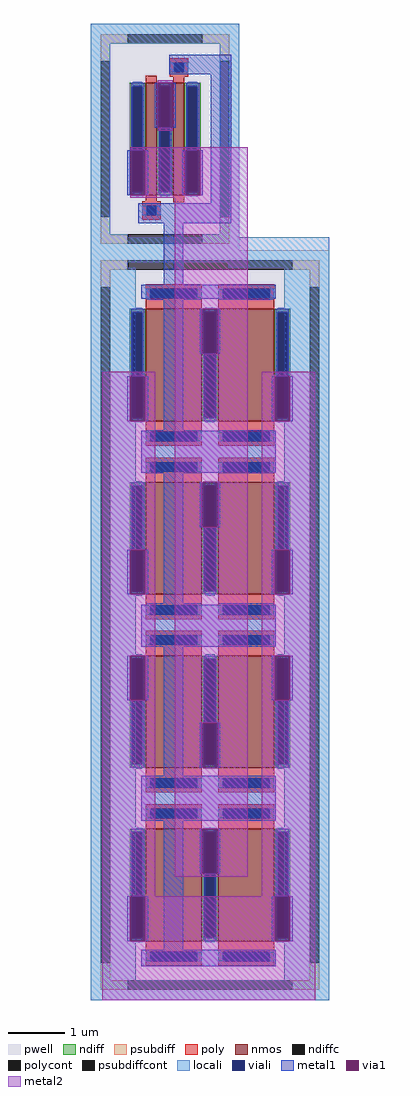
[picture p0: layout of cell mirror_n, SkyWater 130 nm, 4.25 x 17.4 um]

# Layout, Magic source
magic
tech sky130A
magscale 1 2
<< locali >>
rect -30 3380 500 3450
rect -30 2690 40 3380
rect 430 2690 500 3380
rect -30 2600 820 2690
rect -30 2580 40 2600
rect 460 2580 820 2600
rect -30 40 130 2580
rect 660 40 820 2580
rect -30 -30 820 40
<< metal1 >>
rect 250 3270 470 3340
rect 198 3080 208 3240
rect 262 3080 272 3240
rect 100 2840 110 3000
rect 164 2840 174 3000
rect 296 2840 306 3000
rect 360 2840 370 3000
rect 398 2810 470 3270
rect 140 2740 470 2810
rect 230 2520 300 2740
rect 150 2470 630 2520
rect 100 2034 110 2194
rect 164 2034 174 2194
rect 230 2000 300 2470
rect 358 2274 368 2434
rect 422 2274 432 2434
rect 616 2034 626 2194
rect 680 2034 690 2194
rect 150 1850 630 2000
rect 100 1416 110 1576
rect 164 1416 174 1576
rect 230 1380 300 1850
rect 358 1656 368 1816
rect 422 1656 432 1816
rect 616 1416 626 1576
rect 680 1416 690 1576
rect 150 1230 630 1380
rect 100 1038 110 1198
rect 164 1038 174 1198
rect 230 770 300 1230
rect 616 1038 626 1198
rect 680 1038 690 1198
rect 358 798 368 958
rect 422 798 432 958
rect 150 610 630 770
rect 100 180 110 340
rect 164 180 174 340
rect 230 150 300 610
rect 358 420 368 580
rect 422 420 432 580
rect 616 180 626 340
rect 680 180 690 340
rect 150 90 630 150
<< via1 >>
rect 208 3080 262 3240
rect 110 2840 164 3000
rect 306 2840 360 3000
rect 110 2034 164 2194
rect 368 2274 422 2434
rect 626 2034 680 2194
rect 110 1416 164 1576
rect 368 1656 422 1816
rect 626 1416 680 1576
rect 110 1038 164 1198
rect 626 1038 680 1198
rect 368 798 422 958
rect 110 180 164 340
rect 368 420 422 580
rect 626 180 680 340
<< metal2 >>
rect 208 3240 262 3250
rect 208 3070 262 3080
rect 110 3000 530 3010
rect 164 2840 306 3000
rect 360 2840 530 3000
rect 110 2830 530 2840
rect 270 2434 530 2830
rect 270 2274 368 2434
rect 422 2274 530 2434
rect 10 2194 200 2210
rect 10 2034 110 2194
rect 164 2034 200 2194
rect 10 1576 200 2034
rect 10 1416 110 1576
rect 164 1416 200 1576
rect 10 1198 200 1416
rect 10 1038 110 1198
rect 164 1038 200 1198
rect 10 340 200 1038
rect 270 1816 530 2274
rect 270 1656 368 1816
rect 422 1656 530 1816
rect 270 958 530 1656
rect 270 798 368 958
rect 422 798 530 958
rect 270 580 530 798
rect 270 420 368 580
rect 422 420 530 580
rect 270 410 530 420
rect 580 2194 770 2210
rect 580 2034 626 2194
rect 680 2034 770 2194
rect 580 1576 770 2034
rect 580 1416 626 1576
rect 680 1416 770 1576
rect 580 1198 770 1416
rect 580 1038 626 1198
rect 680 1038 770 1198
rect 580 340 770 1038
rect 10 180 110 340
rect 164 180 626 340
rect 680 180 770 340
rect 10 -30 770 180
use sky130_fd_pr__nfet_01v8_M8466X  sky130_fd_pr__nfet_01v8_M8466X_0
transform 1 0 395 0 1 1307
box -425 -1337 425 1337
use sky130_fd_pr__nfet_01v8_WS53KN  sky130_fd_pr__nfet_01v8_WS53KN_0
transform 1 0 235 0 1 3040
box -265 -410 265 410
<< end >>

# cell sky130_fd_pr__nfet_01v8_M8466X: kit device sky130_fd_pr__nfet_01v8, w 2 l 1 m 4 nf 2 diffcov 100 polycov 100 guard 1 glc 1 grc 1 gtc 1 gbc 1 tbcov 100 rlcov 100 topc 1 botc 1 poverlap 0 doverlap 1 lmin 0.15 wmin 0.42 compatible {sky130_fd_pr__nfet_01v8 sky130_fd_pr__nfet_01v8_lvt sky130_fd_bs_flash__special_sonosfet_star sky130_fd_pr__nfet_g5v0d10v5 sky130_fd_pr__nfet_05v0_nvt sky130_fd_pr__nfet_03v3_nvt} full_metal 1 viasrc 100 viadrn 100 viagate 100 viagb 0 viagr 0 viagl 0 viagt 0

# cell sky130_fd_pr__nfet_01v8_WS53KN: kit device sky130_fd_pr__nfet_01v8, w 2 l 0.2 m 1 nf 2 diffcov 100 polycov 100 guard 1 glc 1 grc 1 gtc 1 gbc 1 tbcov 100 rlcov 100 topc 1 botc 1 poverlap 0 doverlap 1 lmin 0.15 wmin 0.42 compatible {sky130_fd_pr__nfet_01v8 sky130_fd_pr__nfet_01v8_lvt sky130_fd_bs_flash__special_sonosfet_star sky130_fd_pr__nfet_g5v0d10v5 sky130_fd_pr__nfet_05v0_nvt sky130_fd_pr__nfet_03v3_nvt} full_metal 1 viasrc 100 viadrn 100 viagate 100 viagb 0 viagr 0 viagl 0 viagt 0
